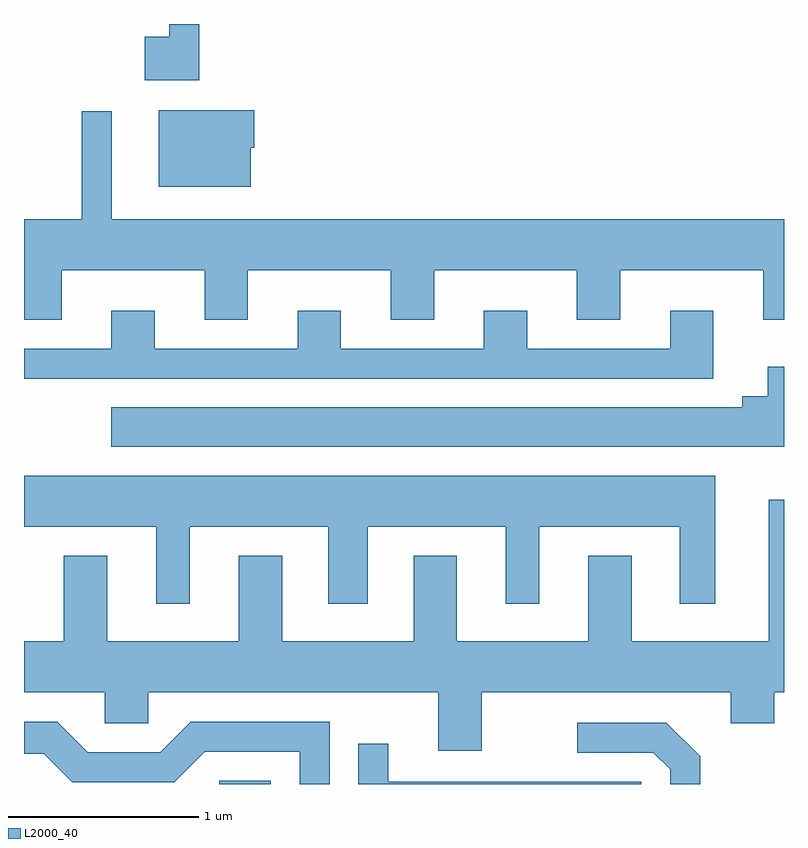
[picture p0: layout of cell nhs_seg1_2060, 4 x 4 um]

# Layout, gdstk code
import gdstk
lib = gdstk.Library(unit=1e-6, precision=1e-09)
def R(c, l, rs):  # rectangles x0, y0, x1, y1
    for r in rs: c.add(gdstk.rectangle(r[:2], r[2:], *l))
def P(c, l, *ps):  # polygons
    for p in ps: c.add(gdstk.Polygon(p, *l))
L2000_40 = (2000, 40)

nhs_seg1_2060 = lib.new_cell('nhs_seg1_2060')
R(nhs_seg1_2060, L2000_40, [(248.638,945.712,248.909,945.729)])
P(nhs_seg1_2060, L2000_40, [(248.534,949.712),(248.376,949.712),(248.376,949.644),(248.246,949.644),(248.246,949.416),(248.534,949.416)],
  [(248.804,949.061),(248.824,949.061),(248.824,949.259),(248.321,949.259),(248.321,948.856),(248.804,948.856)],
  [(247.809,948.416),(248.561,948.416),(248.561,948.156),(248.789,948.156),(248.789,948.416),(249.541,948.416),(249.541,948.156),(249.769,948.156),(249.769,948.416),(250.521,948.416),(250.521,948.156),(250.749,948.156),(250.749,948.416),(251.501,948.416),(251.501,948.156),(251.611,948.156),(251.611,948.684),(248.074,948.684),(248.074,949.253),(247.916,949.253),(247.916,948.684),(247.611,948.684),(247.611,948.156),(247.809,948.156)],
  [(251.239,948.204),(251.011,948.204),(251.011,948.004),(250.259,948.004),(250.259,948.204),(250.031,948.204),(250.031,948.004),(249.279,948.004),(249.279,948.204),(249.051,948.204),(249.051,948.004),(248.299,948.004),(248.299,948.204),(248.071,948.204),(248.071,948.004),(247.611,948.004),(247.611,947.846),(251.239,947.846)],
  [(251.611,947.909),(251.526,947.909),(251.526,947.754),(251.391,947.754),(251.391,947.694),(248.071,947.694),(248.071,947.486),(251.611,947.486)],
  [(248.484,947.066),(249.211,947.066),(249.211,946.661),(249.419,946.661),(249.419,947.066),(250.146,947.066),(250.146,946.661),(250.324,946.661),(250.324,947.066),(251.061,947.066),(251.061,946.661),(251.249,946.661),(251.249,947.334),(247.611,947.334),(247.611,947.066),(248.306,947.066),(248.306,946.661),(248.484,946.661)],
  [(250.019,946.196),(251.331,946.196),(251.331,946.031),(251.559,946.031),(251.559,946.196),(251.611,946.196),(251.611,947.208),(251.531,947.208),(251.531,946.464),(250.809,946.464),(250.809,946.914),(250.581,946.914),(250.581,946.464),(249.889,946.464),(249.889,946.914),(249.661,946.914),(249.661,946.464),(248.969,946.464),(248.969,946.914),(248.741,946.914),(248.741,946.464),(248.049,946.464),(248.049,946.914),(247.821,946.914),(247.821,946.464),(247.611,946.464),(247.611,946.196),(248.036,946.196),(248.036,946.031),(248.264,946.031),(248.264,946.196),(249.791,946.196),(249.791,945.886),(250.019,945.886)],
  [(249.219,946.039),(248.489,946.039),(248.329,945.879),(247.947,945.879),(247.787,946.039),(247.611,946.039),(247.611,945.871),(247.714,945.871),(247.864,945.721),(248.402,945.721),(248.562,945.881),(249.061,945.881),(249.061,945.712),(249.219,945.712)],
  [(251.169,945.857),(250.992,946.034),(250.523,946.034),(250.523,945.876),(250.924,945.876),(251.011,945.789),(251.011,945.712),(251.169,945.712)],
  [(250.859,945.724),(249.529,945.724),(249.529,945.923),(249.371,945.923),(249.371,945.712),(250.859,945.712)])

lib.write_gds('nhs_seg1_2060.gds')
